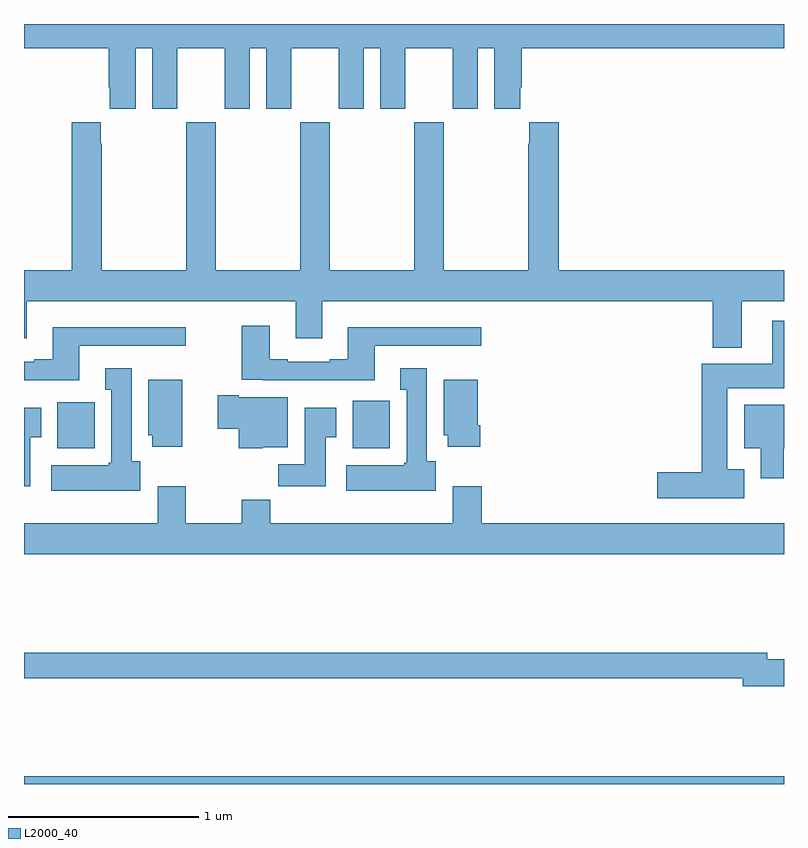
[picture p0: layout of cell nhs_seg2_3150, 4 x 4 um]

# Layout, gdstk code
import gdstk
lib = gdstk.Library(unit=1e-6, precision=1e-09)
def R(c, l, rs):  # rectangles x0, y0, x1, y1
    for r in rs: c.add(gdstk.rectangle(r[:2], r[2:], *l))
def P(c, l, *ps):  # polygons
    for p in ps: c.add(gdstk.Polygon(p, *l))
L2000_40 = (2000, 40)

nhs_seg2_3150 = lib.new_cell('nhs_seg2_3150')
R(nhs_seg2_3150, L2000_40, [(277,607.8,281,607.84), (277.175,609.566,277.372,609.808), (278.729,609.566,278.925,609.817)])
P(nhs_seg2_3150, L2000_40, [(277,611.672),(277.445,611.672),(277.445,611.467),(277.451,611.467),(277.451,611.355),(277.588,611.355),(277.588,611.672),(277.676,611.672),(277.676,611.355),(277.807,611.355),(277.807,611.672),(278.057,611.672),(278.057,611.355),(278.188,611.355),(278.188,611.672),(278.276,611.672),(278.276,611.355),(278.407,611.355),(278.407,611.672),(278.657,611.672),(278.657,611.355),(278.788,611.355),(278.788,611.672),(278.876,611.672),(278.876,611.355),(279.007,611.355),(279.007,611.672),(279.257,611.672),(279.257,611.355),(279.388,611.355),(279.388,611.672),(279.476,611.672),(279.476,611.355),(279.613,611.355),(279.613,611.467),(279.62,611.467),(279.62,611.672),(281,611.672),(281,611.8),(277,611.8)],
  [(280.777,610.34),(281,610.34),(281,610.504),(279.815,610.504),(279.815,611.284),(279.659,611.284),(279.659,611.171),(279.655,611.171),(279.655,610.504),(279.21,610.504),(279.21,611.284),(279.055,611.284),(279.055,610.504),(278.61,610.504),(278.61,611.284),(278.455,611.284),(278.455,610.504),(278.01,610.504),(278.01,611.284),(277.855,611.284),(277.855,610.504),(277.41,610.504),(277.41,611.171),(277.405,611.171),(277.405,611.284),(277.25,611.284),(277.25,610.504),(277,610.504),(277,610.146),(277.015,610.146),(277.015,610.34),(278.429,610.34),(278.429,610.146),(278.569,610.146),(278.569,610.34),(280.625,610.34),(280.625,610.097),(280.777,610.097)],
  [(280.792,609.457),(280.702,609.457),(280.702,609.884),(281,609.884),(281,610.237),(280.937,610.237),(280.937,610.012),(280.568,610.012),(280.568,609.44),(280.332,609.44),(280.332,609.305),(280.792,609.305)],
  [(278.845,610.107),(279.406,610.107),(279.406,610.204),(278.705,610.204),(278.705,610.036),(278.609,610.036),(278.609,610.023),(278.389,610.023),(278.389,610.036),(278.293,610.036),(278.293,610.213),(278.146,610.213),(278.146,609.927),(278.257,609.927),(278.257,609.926),(278.845,609.926)],
  [(277.291,610.107),(277.852,610.107),(277.852,610.204),(277.151,610.204),(277.151,610.036),(277.055,610.036),(277.055,610.023),(277,610.023),(277,609.926),(277.291,609.926)],
  [(277.612,609.498),(277.567,609.498),(277.567,609.988),(277.427,609.988),(277.427,609.875),(277.46,609.875),(277.46,609.492),(277.447,609.492),(277.447,609.478),(277.143,609.478),(277.143,609.344),(277.612,609.344)],
  [(279.166,609.498),(279.121,609.498),(279.121,609.988),(278.981,609.988),(278.981,609.875),(279.014,609.875),(279.014,609.492),(279.001,609.492),(279.001,609.478),(278.697,609.478),(278.697,609.344),(279.166,609.344)],
  [(279.401,609.688),(279.388,609.688),(279.388,609.928),(279.209,609.928),(279.209,609.636),(279.23,609.636),(279.23,609.576),(279.401,609.576)],
  [(277.834,609.928),(277.655,609.928),(277.655,609.636),(277.676,609.636),(277.676,609.576),(277.834,609.576)],
  [(278.256,609.572),(278.389,609.572),(278.389,609.835),(278.131,609.835),(278.131,609.847),(278.019,609.847),(278.019,609.67),(278.131,609.67),(278.131,609.566),(278.256,609.566)],
  [(280.999,609.566),(281,609.566),(281,609.796),(280.79,609.796),(280.79,609.566),(280.877,609.566),(280.877,609.408),(280.999,609.408)],
  [(278.587,609.625),(278.644,609.625),(278.644,609.781),(278.477,609.781),(278.477,609.484),(278.338,609.484),(278.338,609.366),(278.587,609.366)],
  [(277.033,609.625),(277.09,609.625),(277.09,609.781),(277,609.781),(277,609.366),(277.033,609.366)],
  [(281,609.172),(279.41,609.172),(279.41,609.367),(279.257,609.367),(279.257,609.172),(278.297,609.172),(278.297,609.296),(278.146,609.296),(278.146,609.172),(277.851,609.172),(277.851,609.367),(277.703,609.367),(277.703,609.172),(277,609.172),(277,609.008),(281,609.008)],
  [(281,608.456),(280.912,608.456),(280.912,608.492),(277,608.492),(277,608.356),(280.784,608.356),(280.784,608.314),(281,608.314)])

lib.write_gds('nhs_seg2_3150.gds')
